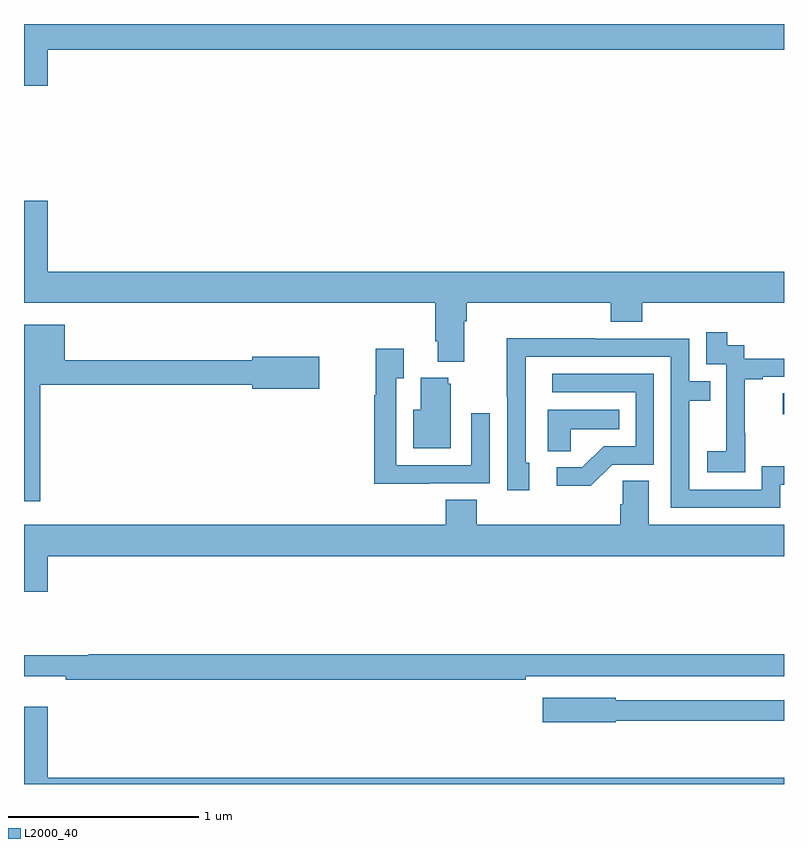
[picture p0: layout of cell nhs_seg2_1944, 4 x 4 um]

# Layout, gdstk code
import gdstk
lib = gdstk.Library(unit=1e-6, precision=1e-09)
def R(c, l, rs):  # rectangles x0, y0, x1, y1
    for r in rs: c.add(gdstk.rectangle(r[:2], r[2:], *l))
def P(c, l, *ps):  # polygons
    for p in ps: c.add(gdstk.Polygon(p, *l))
L2000_40 = (2000, 40)

nhs_seg2_1944 = lib.new_cell('nhs_seg2_1944')
R(nhs_seg2_1944, L2000_40, [(216.993,617.747,217,617.857)])
P(nhs_seg2_1944, L2000_40, [(213.124,619.664),(217,619.664),(217,619.8),(213,619.8),(213,619.476),(213.124,619.476)],
  [(215.317,618.236),(215.33,618.236),(215.33,618.332),(216.089,618.332),(216.089,618.233),(216.254,618.233),(216.254,618.332),(217,618.332),(217,618.496),(213.124,618.496),(213.124,618.871),(213,618.871),(213,618.332),(215.165,618.332),(215.165,618.13),(215.177,618.13),(215.177,618.023),(215.317,618.023)],
  [(213.085,617.902),(214.202,617.902),(214.202,617.879),(214.555,617.879),(214.555,618.049),(214.202,618.049),(214.202,618.031),(213.214,618.031),(213.214,618.217),(213,618.217),(213,617.289),(213.085,617.289)],
  [(216.795,617.647),(216.794,617.647),(216.794,617.931),(216.889,617.931),(216.889,617.943),(217,617.943),(217,618.039),(216.792,618.039),(216.792,618.108),(216.7,618.108),(216.7,618.178),(216.591,618.178),(216.591,618.009),(216.696,618.009),(216.696,617.78),(216.695,617.78),(216.695,617.551),(216.597,617.551),(216.597,617.441),(216.795,617.441)],
  [(216.979,617.376),(217,617.376),(217,617.472),(216.882,617.472),(216.882,617.349),(216.501,617.349),(216.501,617.818),(216.611,617.818),(216.611,617.919),(216.501,617.919),(216.501,618.144),(216.005,618.144),(216.005,618.146),(215.542,618.146),(215.542,617.839),(215.544,617.839),(215.544,617.346),(215.659,617.346),(215.659,617.49),(215.64,617.49),(215.64,618.048),(216.405,618.048),(216.405,617.253),(216.979,617.253)],
  [(215.135,617.382),(215.451,617.382),(215.451,617.752),(215.355,617.752),(215.355,617.478),(214.959,617.478),(214.959,617.935),(214.999,617.935),(214.999,618.091),(214.851,618.091),(214.851,617.846),(214.843,617.846),(214.843,617.381),(215.135,617.381)],
  [(216.096,617.481),(216.315,617.481),(216.315,617.958),(215.781,617.958),(215.781,617.862),(216.219,617.862),(216.219,617.577),(216.05,617.577),(215.939,617.466),(215.805,617.466),(215.805,617.369),(215.983,617.369)],
  [(215.245,617.907),(215.234,617.907),(215.234,617.938),(215.087,617.938),(215.087,617.77),(215.048,617.77),(215.048,617.567),(215.245,617.567)],
  [(215.877,617.666),(216.134,617.666),(216.134,617.77),(215.756,617.77),(215.756,617.551),(215.877,617.551)],
  [(213.124,617),(217,617),(217,617.164),(216.289,617.164),(216.289,617.396),(216.15,617.396),(216.15,617.273),(216.137,617.273),(216.137,617.164),(215.384,617.164),(215.384,617.297),(215.219,617.297),(215.219,617.164),(213,617.164),(213,616.812),(213.124,616.812)],
  [(215.642,616.368),(217,616.368),(217,616.484),(213.34,616.484),(213.34,616.477),(213,616.477),(213,616.367),(213.22,616.367),(213.22,616.348),(215.642,616.348)],
  [(216.114,616.134),(217,616.134),(217,616.242),(216.114,616.242),(216.114,616.255),(215.73,616.255),(215.73,616.126),(216.114,616.126)],
  [(217,615.832),(213.124,615.832),(213.124,616.207),(213,616.207),(213,615.8),(217,615.8)])

lib.write_gds('nhs_seg2_1944.gds')
